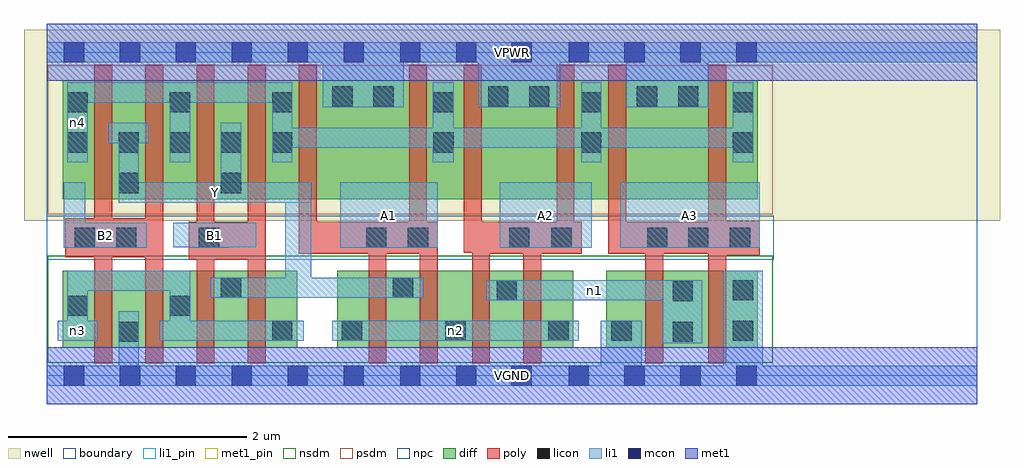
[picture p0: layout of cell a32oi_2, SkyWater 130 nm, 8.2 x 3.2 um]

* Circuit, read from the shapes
.subckt a32oi_2 A1 A2 A3 B1 B2 VGND VPWR Y n1 n2 n3 n4
XM1 VGND B2 n3 VSUBS sky130_fd_pr__nfet_01v8 w=0.65 l=0.15 m=2
XM2 Y B1 n3 VSUBS sky130_fd_pr__nfet_01v8 w=0.65 l=0.15 m=2
XM3 Y A1 n2 VSUBS sky130_fd_pr__nfet_01v8 w=0.65 l=0.15 m=2
XM4 n1 A2 n2 VSUBS sky130_fd_pr__nfet_01v8 w=0.65 l=0.15 m=2
XM5 n1 A3 VGND VSUBS sky130_fd_pr__nfet_01v8 w=0.65 l=0.15 m=2
XM6 Y B2 n4 n5 sky130_fd_pr__pfet_01v8 w=1 l=0.15 m=2
XM7 Y B1 n4 n5 sky130_fd_pr__pfet_01v8 w=1 l=0.15 m=2
XM8 VPWR A1 n4 n5 sky130_fd_pr__pfet_01v8 w=1 l=0.15 m=2
XM9 VPWR A2 n4 n5 sky130_fd_pr__pfet_01v8 w=1 l=0.15 m=2
XM10 VPWR A3 n4 n5 sky130_fd_pr__pfet_01v8 w=1 l=0.15 m=2
.ends

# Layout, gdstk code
import gdstk
lib = gdstk.Library(unit=1e-6, precision=1e-09)
def R(c, l, rs):  # rectangles x0, y0, x1, y1
    for r in rs: c.add(gdstk.rectangle(r[:2], r[2:], *l))
def A(c, l, x, y, w, h, nx, ny, dx, dy):  # array of equal rectangles
    R(c, l, [(x+i*dx, y+j*dy, x+i*dx+w, y+j*dy+h) for i in range(nx) for j in range(ny)])
nwell = (64, 20)
diff = (65, 20)
poly = (66, 20)
licon = (66, 44)
li1_pin = (67, 16)
li1 = (67, 20)
mcon = (67, 44)
met1_pin = (68, 16)
met1 = (68, 20)
nsdm = (93, 44)
psdm = (94, 20)
npc = (95, 20)
boundary = (235, 4)

a32oi_2 = lib.new_cell('a32oi_2')
R(a32oi_2, nwell, [(-0.19,1.305,8.01,2.91), (0,1.305,7.82,2.91)])
R(a32oi_2, diff, [(0.135,0.235,2.105,0.885), (2.44,0.235,4.425,0.885), (4.7,0.235,5.975,0.885), (0.135,1.485,5.975,2.485)])
A(a32oi_2, poly, 0.4, 0.105, 0.15, 2.51, 4, 1, 0.43, 0)
R(a32oi_2, poly, [(2.705,0.105,2.855,1.295), (3.135,0.105,3.285,1.295), (3.575,0.105,3.725,1.295), (4.005,0.105,4.155,1.295), (5.03,0.105,5.18,1.295), (5.56,0.105,5.71,2.615), (1.195,0.975,1.84,1.295), (0.155,0.995,0.98,1.325), (5.56,1.015,5.99,1.305), (2.12,1.025,3.285,1.295), (2.12,1.025,2.27,2.615), (3.045,1.025,3.195,2.615), (3.575,1.025,4.495,1.295), (4.285,1.025,4.435,2.615), (4.72,1.025,4.87,2.615), (4.72,1.025,5.99,1.295), (3.505,1.035,3.655,2.615)])
A(a32oi_2, licon, 0.175, 1.875, 0.17, 0.17, 5, 1, 0.43, 0)
A(a32oi_2, licon, 0.175, 2.215, 0.17, 0.17, 3, 1, 0.86, 0)
R(a32oi_2, licon, [(0.605,0.285,0.775,0.455), (5.26,0.285,5.43,0.455), (1.895,0.295,2.065,0.465), (2.48,0.295,2.65,0.465), (3.35,0.295,3.52,0.465), (4.215,0.295,4.385,0.465), (4.745,0.295,4.915,0.465), (5.765,0.295,5.935,0.465), (0.175,0.505,0.345,0.675), (1.035,0.505,1.205,0.675), (5.26,0.625,5.43,0.795), (3.78,0.635,3.95,0.805), (5.765,0.635,5.935,0.805), (1.465,0.655,1.635,0.825), (2.91,0.655,3.08,0.825), (0.235,1.075,0.405,1.245), (0.585,1.075,0.755,1.245), (1.28,1.075,1.45,1.245), (2.685,1.075,2.855,1.245), (3.035,1.075,3.205,1.245), (3.885,1.075,4.055,1.245), (4.24,1.075,4.41,1.245), (5.045,1.075,5.215,1.245), (5.39,1.075,5.56,1.245), (5.74,1.075,5.91,1.245), (0.605,1.535,0.775,1.705), (1.465,1.535,1.635,1.705), (3.25,1.875,3.42,2.045), (4.49,1.875,4.66,2.045), (5.765,1.875,5.935,2.045), (3.25,2.215,3.42,2.385), (4.49,2.215,4.66,2.385), (5.765,2.215,5.935,2.385), (2.4,2.265,2.57,2.435), (2.745,2.265,2.915,2.435), (3.71,2.265,3.88,2.435), (4.055,2.265,4.225,2.435), (4.96,2.265,5.13,2.435), (5.305,2.265,5.475,2.435)])
R(a32oi_2, li1_pin, [(0.145,1.075,0.84,1.285), (2.465,1.075,3.285,1.625), (3.805,1.075,4.58,1.625), (4.82,1.075,5.99,1.625), (1.065,1.08,1.76,1.285), (0.605,1.455,2.225,1.625)])
A(a32oi_2, li1, 0.175, 1.795, 0.17, 0.67, 3, 1, 0.86, 0)
R(a32oi_2, li1, [(0,-0.085,7.82,0.085), (0.605,-0.085,0.775,0.545), (4.655,-0.085,5,0.465), (5.685,-0.085,6.015,0.885), (5.175,0.275,5.51,0.805), (0.095,0.295,0.43,0.465), (0.175,0.295,0.345,0.885), (0.95,0.295,2.16,0.465), (1.035,0.295,1.205,0.885), (2.4,0.295,4.47,0.465), (3.695,0.635,5.51,0.805), (1.38,0.655,3.165,0.825), (2.005,0.655,2.225,1.625), (0.175,0.715,1.205,0.885), (0.145,1.075,0.84,1.285), (0.145,1.075,0.325,1.625), (1.195,1.075,1.535,1.285), (2.465,1.075,3.285,1.625), (3.805,1.075,4.58,1.625), (4.82,1.075,5.99,1.625), (1.065,1.08,1.76,1.285), (0.605,1.455,2.225,1.625), (0.605,1.455,0.775,2.125), (1.465,1.455,1.635,2.125), (3.245,1.795,3.42,2.465), (4.49,1.795,4.66,2.465), (5.765,1.795,5.935,2.465), (1.895,1.915,5.935,2.085), (0.52,1.955,0.86,2.125), (2.32,2.255,3,2.805), (3.625,2.255,4.315,2.805), (4.87,2.255,5.56,2.805), (0.175,2.295,2.065,2.465), (0,2.635,7.82,2.805)])
A(a32oi_2, mcon, 0.145, -0.085, 0.17, 0.17, 6, 2, 0.47, 2.72)
A(a32oi_2, mcon, 4.385, -0.085, 0.17, 0.17, 4, 2, 0.47, 2.72)
R(a32oi_2, mcon, [(2.97,-0.085,3.14,0.085), (3.44,-0.085,3.61,0.085), (3.905,-0.085,4.075,0.085), (2.97,2.635,3.14,2.805), (3.44,2.635,3.61,2.805), (3.905,2.635,4.075,2.805)])
R(a32oi_2, met1_pin, [(0,-0.24,7.82,0.24), (0,2.48,7.82,2.96)])
R(a32oi_2, met1, [(0,-0.24,7.82,0.24), (0,2.48,7.82,2.96)])
R(a32oi_2, nsdm, [(0.01,0.11,6.1,1.01)])
R(a32oi_2, psdm, [(0.01,1.36,6.1,2.61)])
R(a32oi_2, npc, [(0,0.975,6.11,1.345)])
R(a32oi_2, boundary, [(0,0,7.82,2.72)])
a32oi_2.add(gdstk.Label('A1', (2.875,1.35), layer=67, texttype=5))
a32oi_2.add(gdstk.Label('A2', (4.192,1.35), layer=67, texttype=5))
a32oi_2.add(gdstk.Label('A3', (5.405,1.35), layer=67, texttype=5))
a32oi_2.add(gdstk.Label('B1', (1.412,1.182), layer=67, texttype=5))
a32oi_2.add(gdstk.Label('B2', (0.492,1.18), layer=67, texttype=5))
a32oi_2.add(gdstk.Label('Y', (1.415,1.54), layer=67, texttype=5))
a32oi_2.add(gdstk.Label('n2', (3.435,0.38), layer=67, texttype=5))
a32oi_2.add(gdstk.Label('n1', (4.602,0.72), layer=67, texttype=5))
a32oi_2.add(gdstk.Label('n3', (0.262,0.38), layer=67, texttype=5))
a32oi_2.add(gdstk.Label('n4', (0.26,2.13), layer=67, texttype=5))
a32oi_2.add(gdstk.Label('VPWR', (3.91,2.72), layer=68, texttype=5))
a32oi_2.add(gdstk.Label('VGND', (3.91,0), layer=68, texttype=5))
a32oi_2.add(gdstk.Label('A1', (2.875,1.35), layer=67, texttype=16))
a32oi_2.add(gdstk.Label('A2', (4.192,1.35), layer=67, texttype=16))
a32oi_2.add(gdstk.Label('A3', (5.405,1.35), layer=67, texttype=16))
a32oi_2.add(gdstk.Label('B1', (1.412,1.182), layer=67, texttype=16))
a32oi_2.add(gdstk.Label('B2', (0.492,1.18), layer=67, texttype=16))
a32oi_2.add(gdstk.Label('Y', (1.415,1.54), layer=67, texttype=16))
a32oi_2.add(gdstk.Label('VPWR', (3.91,2.72), layer=68, texttype=16))
a32oi_2.add(gdstk.Label('VGND', (3.91,0), layer=68, texttype=16))

lib.write_gds('a32oi_2.gds')
